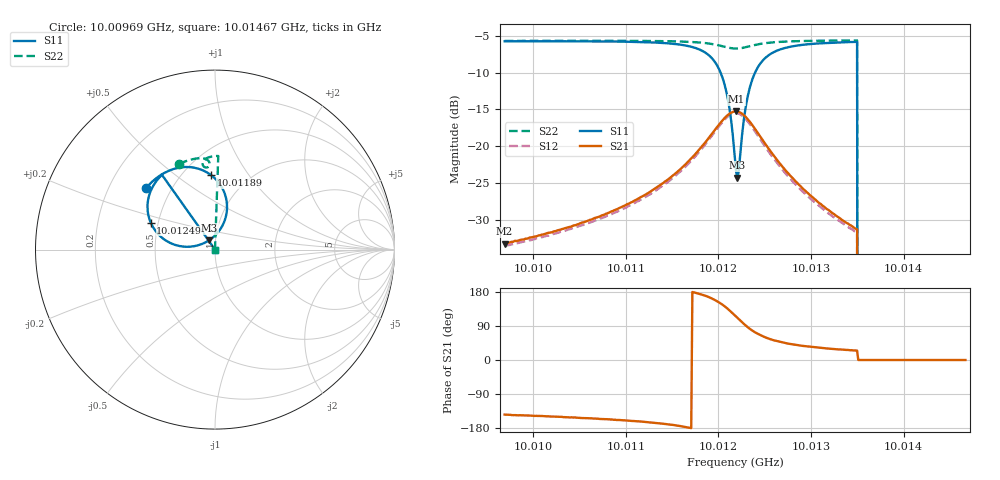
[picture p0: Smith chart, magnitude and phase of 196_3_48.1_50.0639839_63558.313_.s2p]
#  HZ  S  RI  R  50.00
! Rohde & Schwarz Vector Network Analyzer
! Rohde-Schwarz,ZNB20-2Port,1311601062101988,3.16
! Created: UTC 12/23/2023, 3:54:17 AM
! freq[Hz]  re:S11  im:S11  re:S21  im:S21  re:S12  im:S12  re:S22  im:S22
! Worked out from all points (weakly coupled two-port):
!   401 points, 10.00969 GHz to 10.01467 GHz, reference 50 ohm
!   highest |S21| = -15.27 dB at 10.01219 GHz (marker M1); lowest = -33.2 dB at 10.00969 GHz (marker M2)
!   lowest |S11| = -24.2 dB at 10.0122 GHz (marker M3), VSWR 1.13, Z = 46.6 + j4.9 ohm
!   |S11| at or under -10 dB: 10.01202 GHz to 10.0124 GHz (373.3 kHz wide, 0.00373 % of centre); 10.0135 GHz to end of sweep
!   |S22| runs from - to -5.6 dB; largest |S21 - S12| = 0.0087
!   S11 on the Smith chart (normalised r, x): 10.00969 GHz: 0.36, +0.34; 10.01189 GHz: 0.68, +0.68; 10.01249 GHz: 0.45, +0.16; 10.01467 GHz: 1.00, +0.00
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1.000969e10  -0.3821 0.3457  -0.0177 -0.0128  -0.0165 -0.013  -0.2005 0.478
1.0010524e10  -0.3268 0.3979  -0.0271 -0.0137  -0.0253 -0.0146  -0.1478 0.4973
1.0011358e10  -0.2237 0.4511  -0.0525 -0.0123  -0.0498 -0.0144  -0.0881 0.5091
1.0011657e10  -0.1413 0.4595  -0.0768 -0.00339  -0.0737 -0.00756  -0.062 0.5078
1.0011893e10  -0.0226 0.4154  -0.1101 0.0267  -0.1081 0.0201  -0.0385 0.4964
1.0011992e10  0.0391 0.3451  -0.1228 0.0598  -0.1227 0.0517  -0.0307 0.4844
1.0012067e10  0.0665 0.2527  -0.1223 0.0962  -0.1234 0.0884  -0.0302 0.472
1.0012129e10  0.0515 0.1552  -0.1053 0.1308  -0.1084 0.123  -0.0359 0.4622
1.0012179e10  0.00334 0.0814  -0.079 0.1531  -0.083 0.1461  -0.0447 0.4576
1.0012192e10  -0.0138 0.0658  -0.0709 0.1571  -0.0751 0.1504  -0.047 0.4572
1.0012204e10  -0.0322 0.0523  -0.0627 0.1604  -0.0668 0.1538  -0.0495 0.4572
1.0012229e10  -0.0725 0.0313  -0.0459 0.1639  -0.0497 0.1578  -0.0546 0.458
1.0012279e10  -0.1574 0.0156  -0.0127 0.1614  -0.0176 0.1558  -0.0627 0.4629
1.0012328e10  -0.2334 0.0302  0.0149 0.1488  0.00944 0.1441  -0.0675 0.4708
1.0012403e10  -0.3126 0.0821  0.0398 0.1228  0.0337 0.1194  -0.0685 0.4831
1.001249e10  -0.3582 0.1502  0.0512 0.0945  0.0455 0.092  -0.0636 0.4946
1.0012714e10  -0.3733 0.2744  0.0491 0.0495  0.0449 0.0493  -0.044 0.5106
1.0013013e10  -0.3442 0.3553  0.0374 0.0256  0.0343 0.0262  -0.0185 0.5184
1.0013473e10  -0.2977 0.4143  0.0252 0.0119  0.0234 0.0124  0.0163 0.5216
1.0013536e10  0 0  0 0  0 0  0 0
1.0013847e10  0 0  0 0  0 0  0 0
1.0014668e10  0 0  0 0  0 0  0 0
